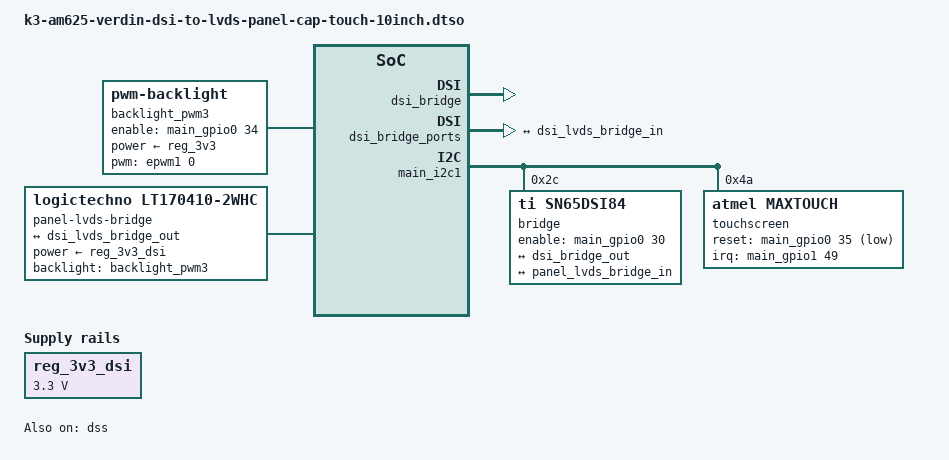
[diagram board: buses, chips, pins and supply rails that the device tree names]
// SPDX-License-Identifier: GPL-2.0-or-later OR MIT
/*
 * Copyright (c) Toradex
 *
 * Toradex DSI to LVDS Adapter on Verdin DSI_1 with Capacitive Touch Display 10.1"
 * Used on Dahlia (X17) and Development Board (X48) that expose DSI_1 via an
 * Samtec LSS-130 connector.
 *
 * https://developer.toradex.com/hardware/accessories/displays/capacitive-touch-display-101inch-lvds
 * https://www.toradex.com/accessories/capacitive-touch-display-10.1-inch-lvds
 * https://developer.toradex.com/hardware/accessories/add-ons/dsi-lvds-adapter
 * https://www.toradex.com/accessories/verdin-dsi-to-lvds-adapter
 */

/dts-v1/;
/plugin/;

#include <dt-bindings/gpio/gpio.h>
#include <dt-bindings/interrupt-controller/irq.h>
#include <dt-bindings/pwm/pwm.h>

&{/} {
	backlight_pwm3: backlight-pwm3 {
		compatible = "pwm-backlight";
		pinctrl-names = "default";
		pinctrl-0 = <&pinctrl_i2s_2_d_out_gpio>;
		brightness-levels = <0 45 63 88 119 158 203 255>;
		default-brightness-level = <4>;
		/* Verdin I2S_2_D_OUT as GPIO (SODIMM 46) */
		enable-gpios = <&main_gpio0 34 GPIO_ACTIVE_HIGH>;
		power-supply = <&reg_3v3>;
		/* Verdin PWM_3_DSI (SODIMM 19) */
		pwms = <&epwm1 0 6666667 PWM_POLARITY_INVERTED>;
	};

	panel-lvds-bridge {
		compatible = "logictechno,lt170410-2whc";
		backlight = <&backlight_pwm3>;
		power-supply = <&reg_3v3_dsi>;

		port {
			panel_lvds_bridge_in: endpoint {
				remote-endpoint = <&dsi_lvds_bridge_out>;
			};
		};
	};

	reg_3v3_dsi: regulator-3v3-dsi {
		compatible = "regulator-fixed";
		regulator-max-microvolt = <3300000>;
		regulator-min-microvolt = <3300000>;
		regulator-name = "+V3.3_DSI";
	};
};

&dsi_bridge {
	status = "okay";
};

&dsi_bridge_ports {
	#address-cells = <1>;
	#size-cells = <0>;

	port@1 {
		reg = <1>;

		dsi_bridge_out: endpoint {
			remote-endpoint = <&dsi_lvds_bridge_in>;
		};
	};
};

&dss {
	status = "okay";
};

/* Verdin I2C_1 */
&main_i2c1 {
	#address-cells = <1>;
	#size-cells = <0>;

	bridge@2c {
		compatible = "ti,sn65dsi84";
		reg = <0x2c>;
		pinctrl-names = "default";
		pinctrl-0 = <&pinctrl_dsi1_bkl_en>;
		/* Verdin GPIO_10_DSI (SODIMM 21) - DSI_1_BKL_EN */
		enable-gpios = <&main_gpio0 30 GPIO_ACTIVE_HIGH>;

		ports {
			#address-cells = <1>;
			#size-cells = <0>;

			port@0 {
				reg = <0>;

				dsi_lvds_bridge_in: endpoint {
					remote-endpoint = <&dsi_bridge_out>;
					data-lanes = <1 2 3 4>;
				};
			};

			port@2 {
				reg = <2>;

				dsi_lvds_bridge_out: endpoint {
					remote-endpoint = <&panel_lvds_bridge_in>;
				};
			};
		};
	};

	touchscreen@4a {
		compatible = "atmel,maxtouch";
		reg = <0x4a>;
		pinctrl-names = "default";
		pinctrl-0 = <&pinctrl_dsi1_int>, <&pinctrl_i2s_2_bclk_gpio>;
		/* Verdin GPIO_9_DSI (SODIMM 17) - TOUCH_INT# */
		interrupt-parent = <&main_gpio1>;
		interrupts = <49 IRQ_TYPE_EDGE_FALLING>;
		/* Verdin I2S_2_BCLK (SODIMM 42) - TOUCH_RESET# */
		reset-gpios = <&main_gpio0 35 GPIO_ACTIVE_LOW>;
	};
};
